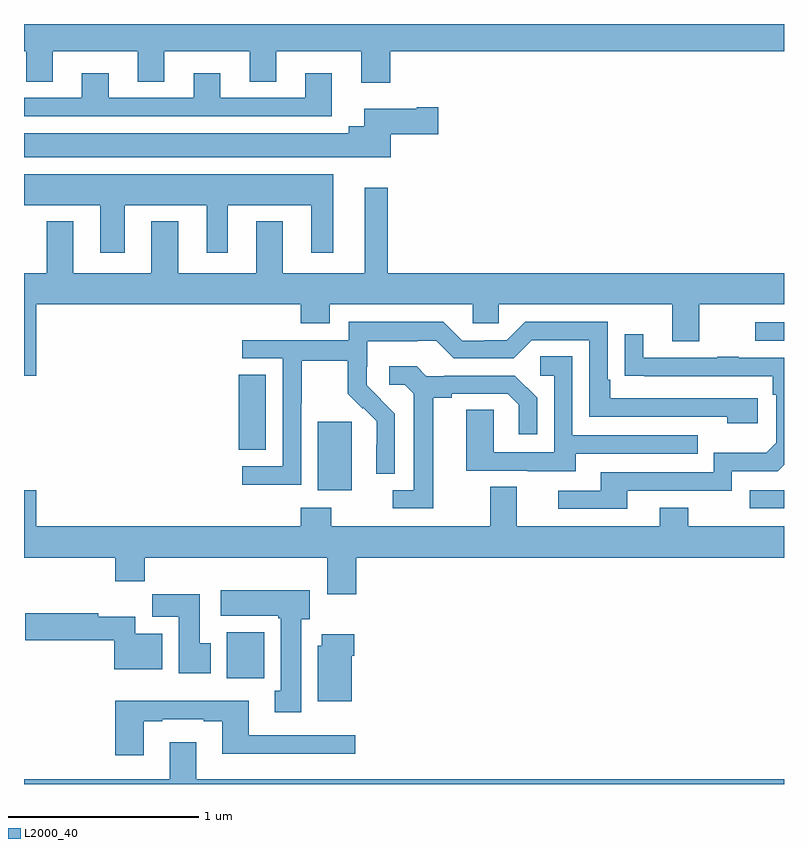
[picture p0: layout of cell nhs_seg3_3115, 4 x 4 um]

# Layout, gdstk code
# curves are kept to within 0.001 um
import gdstk
lib = gdstk.Library(unit=1e-6, precision=1e-09)
def R(c, l, rs):  # rectangles x0, y0, x1, y1
    for r in rs: c.add(gdstk.rectangle(r[:2], r[2:], *l))
def P(c, l, *ps):  # polygons
    for p in ps: c.add(gdstk.Polygon(p, *l))
L2000_40 = (2000, 40)

nhs_seg3_3115 = lib.new_cell('nhs_seg3_3115')
R(nhs_seg3_3115, L2000_40, [(274.067,690.956,274.264,691.198), (276.819,691.851,277,691.947), (274.547,691.946,274.726,692.307), (274.13,692.158,274.273,692.555), (276.849,692.733,277,692.829)])
P(nhs_seg3_3115, L2000_40, [(274.928,694.256),(277,694.256),(277,694.4),(273,694.4),(273,694.256),(273.011,694.256),(273.011,694.096),(273.151,694.096),(273.151,694.256),(273.599,694.256),(273.599,694.096),(273.739,694.096),(273.739,694.256),(274.187,694.256),(274.187,694.096),(274.327,694.096),(274.327,694.256),(274.775,694.256),(274.775,694.092),(274.928,694.092)],
  [(274.621,694.141),(274.481,694.141),(274.481,694.011),(274.033,694.011),(274.033,694.141),(273.893,694.141),(273.893,694.011),(273.445,694.011),(273.445,694.141),(273.305,694.141),(273.305,694.011),(273,694.011),(273,693.915),(274.621,693.915)],
  [(274.93,693.821),(275.179,693.821),(275.179,693.963),(275.066,693.963),(275.066,693.955),(274.79,693.955),(274.79,693.862),(274.709,693.862),(274.709,693.826),(273,693.826),(273,693.698),(274.93,693.698)],
  [(273.529,693.446),(273.962,693.446),(273.962,693.195),(274.072,693.195),(274.072,693.446),(274.511,693.446),(274.511,693.195),(274.627,693.195),(274.627,693.61),(273,693.61),(273,693.446),(273.401,693.446),(273.401,693.195),(273.529,693.195)],
  [(274.915,693.538),(274.793,693.538),(274.793,693.088),(274.363,693.088),(274.363,693.361),(274.223,693.361),(274.223,693.088),(273.811,693.088),(273.811,693.361),(273.671,693.361),(273.671,693.088),(273.259,693.088),(273.259,693.361),(273.119,693.361),(273.119,693.088),(273,693.088),(273,692.55),(273.064,692.55),(273.064,692.924),(274.457,692.924),(274.457,692.825),(274.609,692.825),(274.609,692.924),(275.361,692.924),(275.361,692.826),(275.499,692.826),(275.499,692.924),(276.413,692.924),(276.413,692.73),(276.553,692.73),(276.553,692.924),(277,692.924),(277,693.088),(274.915,693.088)],
  [(274.458,692.404),(274.461,692.404),(274.461,692.628),(274.705,692.628),(274.705,692.453),(274.782,692.376),(274.785,692.379),(274.856,692.309),(274.856,692.186),(274.854,692.186),(274.854,692.032),(274.95,692.032),(274.95,692.35),(274.804,692.498),(274.804,692.595),(274.806,692.595),(274.806,692.729),(275.069,692.729),(275.069,692.733),(275.169,692.733),(275.262,692.64),(275.577,692.64),(275.673,692.736),(275.976,692.736),(275.976,692.334),(276.701,692.334),(276.701,692.3),(276.862,692.3),(276.862,692.43),(276.085,692.43),(276.085,692.527),(276.072,692.527),(276.072,692.832),(275.637,692.832),(275.541,692.736),(275.423,692.736),(275.423,692.733),(275.307,692.733),(275.207,692.833),(274.71,692.833),(274.71,692.736),(274.149,692.736),(274.149,692.64),(274.362,692.64),(274.362,692.073),(274.149,692.073),(274.149,691.975),(274.458,691.975)],
  [(276.175,691.944),(276.726,691.944),(276.726,692.046),(276.966,692.046),(277,692.08),(277,692.643),(276.761,692.643),(276.761,692.648),(276.649,692.648),(276.649,692.643),(276.259,692.643),(276.259,692.767),(276.163,692.767),(276.163,692.548),(276.94,692.547),(276.94,692.45),(276.96,692.45),(276.96,692.196),(276.907,692.143),(276.63,692.143),(276.63,692.04),(276.035,692.04),(276.035,691.944),(275.811,691.944),(275.811,691.848),(276.175,691.848)],
  [(275.905,692.139),(276.545,692.139),(276.545,692.235),(275.886,692.235),(275.886,692.651),(275.718,692.651),(275.718,692.55),(275.79,692.55),(275.79,692.145),(275.472,692.145),(275.472,692.369),(275.327,692.369),(275.327,692.049),(275.651,692.049),(275.651,692.045),(275.905,692.045)],
  [(275.155,692.432),(275.251,692.432),(275.251,692.454),(275.546,692.454),(275.603,692.397),(275.603,692.241),(275.7,692.241),(275.7,692.434),(275.584,692.55),(275.212,692.55),(275.212,692.547),(275.118,692.547),(275.066,692.599),(274.923,692.599),(274.923,692.502),(275.004,692.502),(275.051,692.455),(275.051,691.947),(274.941,691.947),(274.941,691.851),(275.155,691.851)],
  [(274.748,691.592),(277,691.592),(277,691.756),(276.495,691.756),(276.495,691.855),(276.347,691.855),(276.347,691.756),(275.593,691.756),(275.593,691.964),(275.453,691.964),(275.453,691.756),(274.617,691.756),(274.617,691.855),(274.457,691.855),(274.457,691.756),(273.064,691.756),(273.064,691.945),(273,691.945),(273,691.592),(273.479,691.592),(273.479,691.468),(273.635,691.468),(273.635,691.592),(274.595,691.592),(274.595,691.398),(274.748,691.398)],
  [(274.459,691.266),(274.504,691.266),(274.504,691.42),(274.035,691.42),(274.035,691.286),(274.339,691.286),(274.339,691.273),(274.352,691.273),(274.352,690.89),(274.319,690.89),(274.319,690.777),(274.459,690.777)],
  [(273.982,691.14),(273.925,691.14),(273.925,691.399),(273.676,691.399),(273.676,691.28),(273.815,691.28),(273.815,690.984),(273.982,690.984)],
  [(273.727,691.192),(273.586,691.192),(273.586,691.279),(273.39,691.279),(273.39,691.299),(273.006,691.299),(273.006,691.157),(273.476,691.157),(273.476,691.004),(273.727,691.004)],
  [(274.726,691.076),(274.739,691.076),(274.739,691.189),(274.568,691.189),(274.568,691.128),(274.547,691.128),(274.547,690.836),(274.726,690.836)],
  [(273.631,690.729),(273.727,690.729),(273.727,690.741),(273.947,690.741),(273.947,690.729),(274.043,690.729),(274.043,690.56),(274.744,690.56),(274.744,690.657),(274.183,690.657),(274.183,690.838),(273.479,690.838),(273.479,690.552),(273.631,690.552)],
  [(277,690.424),(273.907,690.424),(273.907,690.619),(273.767,690.619),(273.767,690.424),(273,690.424),(273,690.4),(277,690.4)])

lib.write_gds('nhs_seg3_3115.gds')
